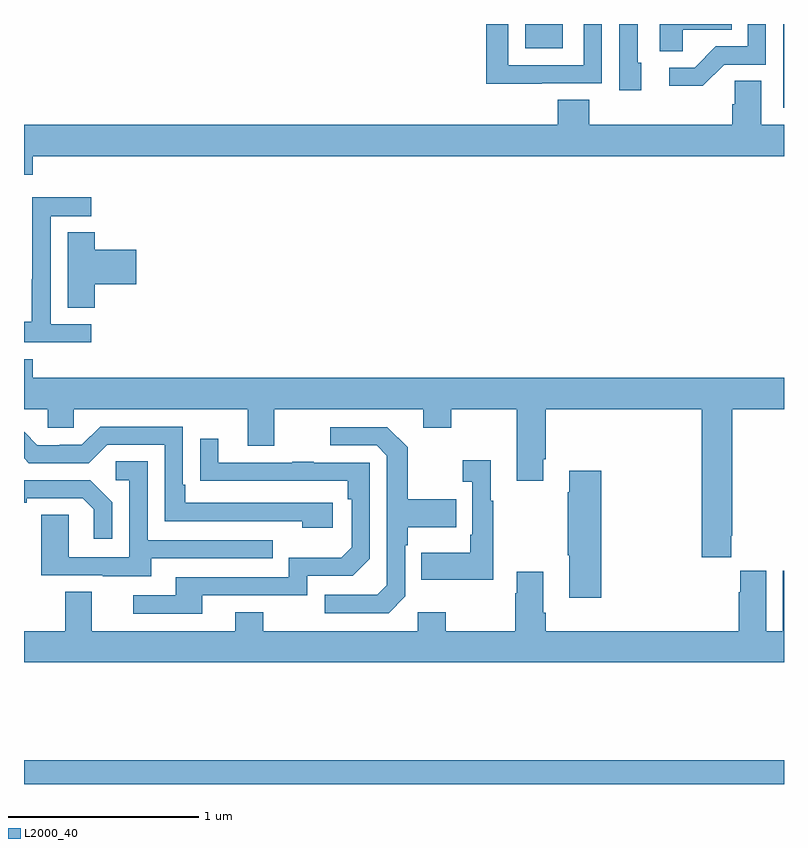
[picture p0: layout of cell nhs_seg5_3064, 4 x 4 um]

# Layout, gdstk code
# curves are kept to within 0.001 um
import gdstk
lib = gdstk.Library(unit=1e-6, precision=1e-09)
def R(c, l, rs):  # rectangles x0, y0, x1, y1
    for r in rs: c.add(gdstk.rectangle(r[:2], r[2:], *l))
def P(c, l, *ps):  # polygons
    for p in ps: c.add(gdstk.Polygon(p, *l))
L2000_40 = (2000, 40)

nhs_seg5_3064 = lib.new_cell('nhs_seg5_3064')
R(nhs_seg5_3064, L2000_40, [(289,842.799,293,842.924), (292.995,846.357,293,846.799), (291.638,846.671,291.835,846.799)])
P(nhs_seg5_3064, L2000_40, [(291.725,846.486),(292.041,846.486),(292.041,846.799),(291.945,846.799),(291.945,846.582),(291.549,846.582),(291.549,846.799),(291.433,846.799),(291.433,846.485),(291.725,846.485)],
  [(292.249,846.594),(292.23,846.594),(292.23,846.799),(292.134,846.799),(292.134,846.45),(292.249,846.45)],
  [(292.467,846.77),(292.724,846.77),(292.724,846.799),(292.346,846.799),(292.346,846.655),(292.467,846.655)],
  [(292.686,846.585),(292.905,846.585),(292.905,846.799),(292.809,846.799),(292.809,846.681),(292.64,846.681),(292.529,846.57),(292.395,846.57),(292.395,846.473),(292.573,846.473)],
  [(289.046,846.104),(293,846.104),(293,846.268),(292.879,846.268),(292.879,846.5),(292.74,846.5),(292.74,846.377),(292.727,846.377),(292.727,846.268),(291.974,846.268),(291.974,846.401),(291.809,846.401),(291.809,846.268),(289,846.268),(289,846.005),(289.046,846.005)],
  [(289.354,845.22),(289.14,845.22),(289.14,845.787),(289.354,845.787),(289.354,845.886),(289.044,845.886),(289.044,845.456),(289.042,845.456),(289.042,845.233),(289,845.233),(289,845.124),(289.354,845.124)],
  [(289.373,845.429),(289.591,845.429),(289.591,845.612),(289.373,845.612),(289.373,845.702),(289.229,845.702),(289.229,845.305),(289.373,845.305)],
  [(292.723,844.105),(292.728,844.105),(292.728,844.772),(293,844.772),(293,844.936),(289.046,844.936),(289.046,845.035),(289,845.035),(289,844.772),(289.125,844.772),(289.125,844.674),(289.263,844.674),(289.263,844.772),(290.177,844.772),(290.177,844.578),(290.317,844.578),(290.317,844.772),(291.101,844.772),(291.101,844.673),(291.249,844.673),(291.249,844.772),(291.593,844.772),(291.593,844.395),(291.733,844.395),(291.733,844.507),(291.746,844.507),(291.746,844.772),(292.568,844.772),(292.568,843.993),(292.723,843.993)],
  [(290.626,844.278),(289.849,844.278),(289.849,844.375),(289.836,844.375),(289.836,844.68),(289.401,844.68),(289.305,844.584),(289.187,844.584),(289.187,844.581),(289.071,844.581),(289,844.652),(289,844.514),(289.026,844.488),(289.341,844.488),(289.437,844.584),(289.74,844.584),(289.74,844.182),(290.465,844.182),(290.465,844.148),(290.626,844.148)],
  [(291.006,843.786),(291.006,844.055),(291.019,844.055),(291.019,844.151),(291.275,844.151),(291.275,844.299),(291.019,844.299),(291.019,844.571),(290.913,844.677),(290.613,844.677),(290.613,844.581),(290.856,844.581),(290.91,844.527),(290.91,843.846),(290.859,843.795),(290.583,843.795),(290.583,843.699),(290.919,843.699)],
  [(289.939,843.792),(290.49,843.792),(290.49,843.894),(290.73,843.894),(290.82,843.984),(290.82,844.491),(290.525,844.491),(290.525,844.496),(290.413,844.496),(290.413,844.491),(290.023,844.491),(290.023,844.615),(289.927,844.615),(289.927,844.396),(290.704,844.395),(290.704,844.298),(290.724,844.298),(290.724,844.044),(290.671,843.991),(290.394,843.991),(290.394,843.888),(289.799,843.888),(289.799,843.792),(289.575,843.792),(289.575,843.696),(289.939,843.696)],
  [(291.469,844.291),(291.457,844.291),(291.457,844.504),(291.309,844.504),(291.309,844.391),(291.36,844.391),(291.36,844.111),(291.348,844.111),(291.348,844.015),(291.091,844.015),(291.091,843.875),(291.469,843.875)],
  [(289.669,843.987),(290.309,843.987),(290.309,844.083),(289.65,844.083),(289.65,844.499),(289.482,844.499),(289.482,844.398),(289.554,844.398),(289.554,843.993),(289.236,843.993),(289.236,844.217),(289.091,844.217),(289.091,843.897),(289.415,843.897),(289.415,843.893),(289.669,843.893)],
  [(292.037,844.447),(291.869,844.447),(291.869,844.334),(291.862,844.334),(291.862,844.003),(291.869,844.003),(291.869,843.78),(292.037,843.78)],
  [(289.464,844.282),(289.348,844.398),(289,844.398),(289,844.28),(289.015,844.28),(289.015,844.302),(289.31,844.302),(289.367,844.245),(289.367,844.089),(289.464,844.089)],
  [(293,843.922),(292.994,843.922),(292.994,843.604),(292.906,843.604),(292.906,843.922),(292.769,843.922),(292.769,843.809),(292.763,843.809),(292.763,843.604),(291.746,843.604),(291.746,843.7),(291.733,843.7),(291.733,843.916),(291.593,843.916),(291.593,843.803),(291.586,843.803),(291.586,843.604),(291.219,843.604),(291.219,843.703),(291.072,843.703),(291.072,843.604),(290.259,843.604),(290.259,843.703),(290.111,843.703),(290.111,843.604),(289.357,843.604),(289.357,843.812),(289.217,843.812),(289.217,843.604),(289,843.604),(289,843.44),(293,843.44)])

lib.write_gds('nhs_seg5_3064.gds')
